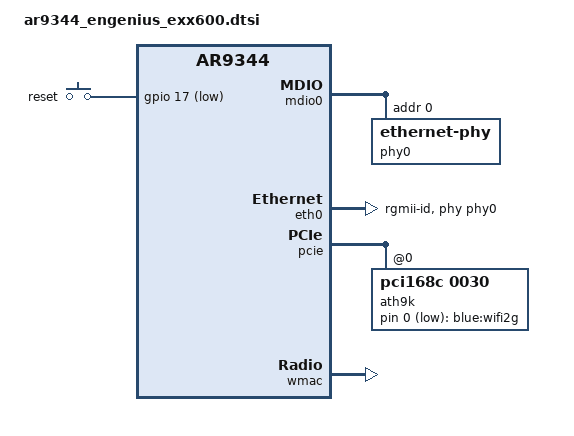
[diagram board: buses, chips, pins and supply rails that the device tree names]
// SPDX-License-Identifier: GPL-2.0-or-later OR MIT

#include "ar9344.dtsi"
#include "ar934x_senao_loader.dtsi"

#include <dt-bindings/gpio/gpio.h>
#include <dt-bindings/input/input.h>

/ {
	aliases {
		label-mac-device = &eth0;
		led-boot = &led_power;
		led-failsafe = &led_power;
		led-running = &led_power;
		led-upgrade = &led_power;
	};

	keys {
		compatible = "gpio-keys";

		reset {
			label = "reset";
			gpios = <&gpio 17 GPIO_ACTIVE_LOW>;
			debounce-interval = <60>;
			linux,code = <KEY_RESTART>;
		};
	};

	ath9k-leds {
		compatible = "gpio-leds";

		wifi2g {
			label = "blue:wifi2g";
			gpios = <&ath9k 0 GPIO_ACTIVE_LOW>;
			linux,default-trigger = "phy1tpt";
		};
	};
};

&mdio0 {
	status = "okay";

	phy0: ethernet-phy@0 {
		reg = <0>;
		eee-broken-100tx;
		eee-broken-1000t;
	};
};

&eth0 {
	status = "okay";

	phy-handle = <&phy0>;
	phy-mode = "rgmii-id";

	pll-data = <0x02000000 0x00000101 0x00001313>;

	gmac-config {
		device = <&gmac>;
		rgmii-gmac0 = <1>;
		rxdv-delay = <3>;
		rxd-delay = <3>;
	};
};

&pcie {
	status = "okay";

	ath9k: wifi@0,0,0 {
		compatible = "pci168c,0030";
		reg = <0x0 0 0 0 0>;
		ieee80211-freq-limit = <2402000 2482000>;
		qca,no-eeprom;
		#gpio-cells = <2>;
		gpio-controller;
	};
};

&wmac {
	status = "okay";

	ieee80211-freq-limit = <4900000 5990000>;

	mtd-cal-data = <&art 0x1000>;
};
